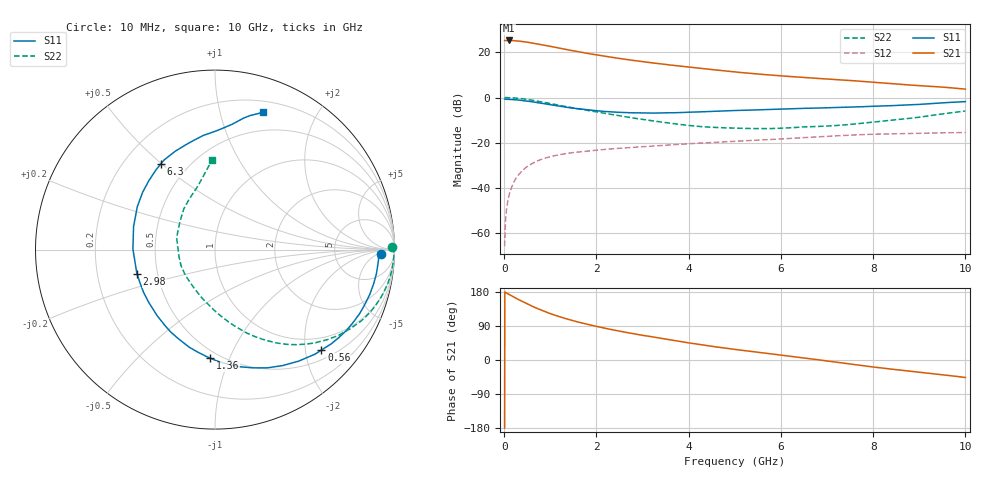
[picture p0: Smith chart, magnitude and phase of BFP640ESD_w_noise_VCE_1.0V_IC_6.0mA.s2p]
! Infineon Technologies  Discrete & RF Semiconductors
! BFP640ESD
! VCE =  1.0 V,  IC =  6.0 mA
! Common Emitter S-Parameters:  Jan 2016
# GHz  S  MA  R  50
!  f  S11  S21  S12  S22
! GHz  MAG  ANG  MAG  ANG  MAG  ANG  MAG  ANG
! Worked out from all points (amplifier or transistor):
!   233 points, 10 MHz to 10 GHz, reference 50 ohm
!   highest |S21| = 25.3 dB at 100 MHz (marker M1)
!   |S21| within 3 dB of that: start of sweep to 1.098 GHz
!   unconditionally stable (mu >= 1): 4.593 GHz to 9.305 GHz
!   at 200 MHz: K = 0.06, MSG = 31.6 dB, |S12| = -38.0 dB
!   at 1.74 GHz: K = 0.53, MSG = 21.9 dB, |S12| = -23.9 dB
!   at 10 GHz: K = 0.89, MSG = 9.6 dB, |S12| = -15.5 dB
!   lowest NFmin = 0.60 dB at 450 MHz
!   S11 on the Smith chart (normalised r, x): 10 MHz: 23, -8; 560 MHz: 0.70, -2.33; 1.36 GHz: 0.45, -0.85; 2.98 GHz: 0.38, -0.13; 6.3 GHz: 0.35, +0.50; 10 GHz: 0.31, +1.36
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0.01  0.9248 -1.6  18.38 -179.9  0.0005 38.2  0.9861 0.8
0.04  0.9125 -3.3  18.37 177.5  0.0025 87.7  0.997 -2.2
0.1  0.9101 -8.1  18.48 173.6  0.0063 85.6  0.9938 -5.4
0.2  0.8979 -16.1  18.32 166.8  0.0126 80.5  0.9818 -10.9
0.34  0.8718 -27.1  17.78 157.7  0.0208 74.4  0.9525 -18.2
0.45  0.8464 -35.4  17.21 150.9  0.0268 69.8  0.9222 -23.6
0.56  0.8155 -43.4  16.53 144.4  0.0321 65.5  0.8854 -28.6
0.7  0.7765 -53.2  15.67 136.8  0.0383 60.6  0.8385 -34.7
0.9  0.7202 -66.2  14.34 126.9  0.0455 54.7  0.769 -42.3
1.12  0.6607 -79.4  12.95 117.4  0.0518 49.4  0.6953 -49.6
1.36  0.6052 -92.5  11.58 108.2  0.0572 44.7  0.6234 -56.5
1.68  0.549 -108.4  10.07 97.7  0.0629 40.1  0.5441 -64.2
2.22  0.4868 -132.3  8.125 82.9  0.0708 34.9  0.4397 -75.6
2.6  0.4649 -148.4  7.107 73.8  0.0757 32.0  0.3776 -84.0
2.98  0.4549 -162.6  6.292 65.6  0.0804 29.7  0.3285 -92.6
3.4  0.4536 -177.1  5.568 57.2  0.0858 27.4  0.2859 -102.8
4  0.4714 164.2  4.754 45.2  0.094 24.1  0.2399 -120.7
5.1  0.517 140.1  3.614 26.4  0.1077 17.7  0.2077 -156.8
6.3  0.5645 122.3  2.875 8.4  0.1251 10.8  0.2155 168.3
6.8  0.583 115.0  2.654 0.7  0.1338 7.2  0.2275 156.7
8.4  0.6593 89.9  2.025 -24.1  0.1557 -7.9  0.3117 118.2
10  0.8105 70.7  1.533 -46.2  0.167 -21.2  0.5005 91.9
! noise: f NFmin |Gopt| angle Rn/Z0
0.45  0.6  0.35  10  0.12
0.9  0.62  0.33  22  0.12
1.9  0.67  0.26  44  0.12
2.4  0.71  0.22  60  0.11
5.5  1.06  0.33  -140  0.13
10  2  0.62  -82  0.81
